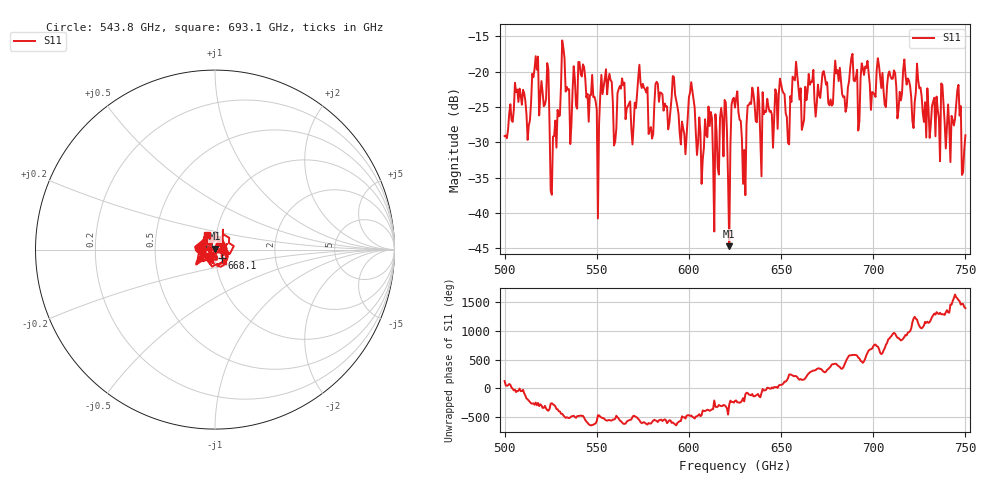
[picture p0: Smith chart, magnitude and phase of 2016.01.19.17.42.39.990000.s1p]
!Created with skrf (http://scikit-rf.org).
# GHz S RI R 50.0
!freq ReS11 ImS11
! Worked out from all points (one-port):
!   401 points, 500 GHz to 750 GHz, reference 50 ohm
!   lowest |S11| = -44.7 dB at 621.9 GHz (marker M1), VSWR 1.01, Z = 50.1 + j0.579 ohm
!   |S11| at or under -10 dB: start of sweep to end of sweep
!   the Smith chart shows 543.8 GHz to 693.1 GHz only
!   S11 on the Smith chart (normalised r, x): 543.8 GHz: 0.84, +0.02; 668.1 GHz: 1.08, -0.10; 693.1 GHz: 0.91, +0.14
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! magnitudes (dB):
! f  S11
! 500 GHz  -29.1
! 506.9 GHz  -22.5
! 513.1 GHz  -27.6
! 516.9 GHz  -17.8
! 526.2 GHz  -29.2
! 531.2 GHz  -15.6
! 543.8 GHz  -20.9
! 550 GHz  -25.4
! 553.8 GHz  -22.1
! 560 GHz  -29.9
! 562.5 GHz  -22.0
! 593.8 GHz  -24.9
! 601.2 GHz  -21.5
! 615 GHz  -28.5
! 618.8 GHz  -32.0
! 621.9 GHz  -44.7
! 625 GHz  -25.1
! 630 GHz  -31.1
! 633.8 GHz  -24.6
! 653.8 GHz  -30.1
! 656.2 GHz  -20.7
! 668.1 GHz  -24.1
! 687.5 GHz  -19.5
! 693.1 GHz  -20.9
! 718.8 GHz  -21.0
! 740.6 GHz  -24.6
! 746.2 GHz  -21.9
! 750 GHz  -29.0
